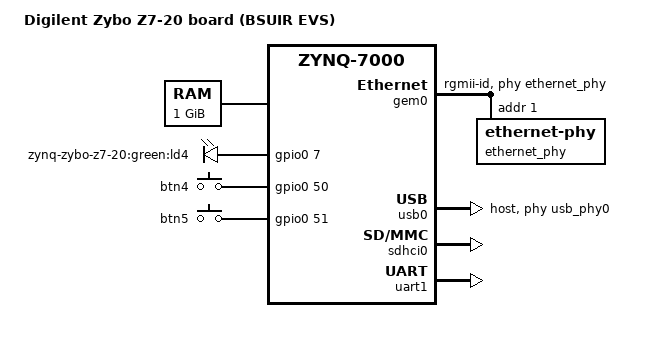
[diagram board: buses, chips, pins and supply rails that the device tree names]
#include <dt-bindings/gpio/gpio.h>

/include/ "system-conf.dtsi"
/ {
	model = "Digilent Zybo Z7-20 board (BSUIR EVS)";
	compatible = "digilent,zynq-zybo-z7", "xlnx,zynq-7000";

	aliases {
		ethernet0 = &gem0;
		serial0 = &uart1;
	};

	memory@0 {
		device_type = "memory";
		reg = <0x0 0x40000000>;
	};

	chosen {
		bootargs = "";
		stdout-path = "serial0:115200n8";
	};

	gpio-leds {
		compatible = "gpio-leds";

		led-ld4 {
			label = "zynq-zybo-z7-20:green:ld4";
			gpios = <&gpio0 7 GPIO_ACTIVE_HIGH>;
			linux,default-trigger = "heartbeat";
		};
	};

	gpio-keys {
		compatible = "gpio-keys";
		#address-cells = <1>;
		#size-cells = <0>;
		autorepeat;
		btn4 {
			label = "btn4";
			gpios = <&gpio0 50 0>;
			linux,code = <108>; /* down */
			gpio-key,wakeup;
			autorepeat;
		};
		btn5 {
			label = "btn5";
			gpios = <&gpio0 51 0>;
			linux,code = <103>; /* up */
			gpio-key,wakeup;
			autorepeat;
		};
	};

	usb_phy0: usb_phy@0 {
		compatible = "ulpi-phy";
		#phy-cells = <0>;
		reg = <0xe0002000 0x1000>;
		view-port = <0x0170>;
		drv-vbus;
	};
};

&gem0 {
	status = "okay";
	phy-mode = "rgmii-id";
	phy-handle = <&ethernet_phy>;

	ethernet_phy: ethernet-phy@1 {
		reg = <1>;
		device_type = "ethernet-phy";
	};
};

&usb0 {	
	dr_mode = "host";
	usb-phy = <&usb_phy0>;
	status = "okay";
};

&sdhci0 {
	u-boot,dm-pre-reloc;
	status = "okay";
	/*
    	max-frequency = <20000000>;
    	disable-wp;
    	no-1-8-v;
	*/
};

&qspi {
	u-boot,dm-pre-reloc;
};

&flash0 {
	compatible = "micron,m25p80", "s25fl128s", "spi-flash";
};

&uart1 {
	status = "okay";
};
